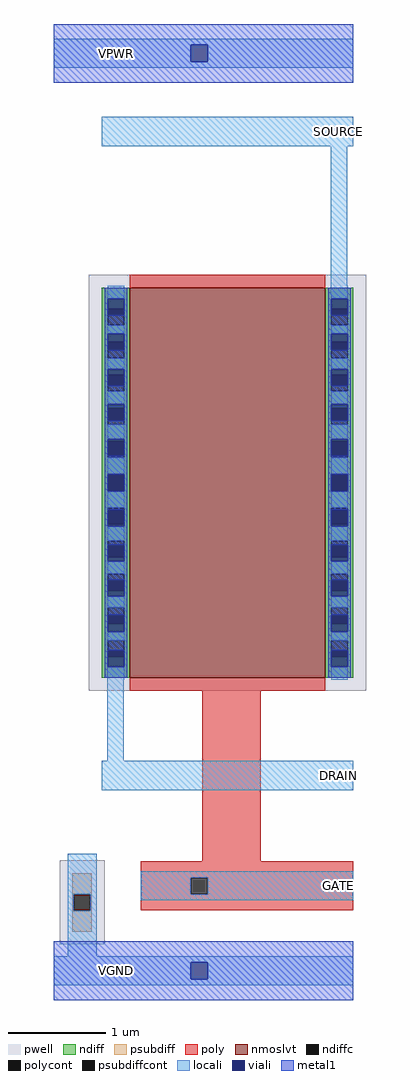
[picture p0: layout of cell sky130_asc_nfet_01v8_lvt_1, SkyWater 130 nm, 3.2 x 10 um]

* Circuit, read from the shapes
.subckt sky130_asc_nfet_01v8_lvt_1 GATE SOURCE DRAIN VPWR VGND
XM1 SOURCE GATE DRAIN VGND sky130_fd_pr__nfet_01v8_lvt w=4 l=2
.ends

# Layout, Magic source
magic
tech sky130A
magscale 1 2
<< pwell >>
rect 162 574 730 1426
rect 102 54 194 226
<< nmoslvt >>
rect 246 600 646 1400
<< ndiff >>
rect 188 1357 246 1400
rect 188 1323 200 1357
rect 234 1323 246 1357
rect 188 1289 246 1323
rect 188 1255 200 1289
rect 234 1255 246 1289
rect 188 1221 246 1255
rect 188 1187 200 1221
rect 234 1187 246 1221
rect 188 1153 246 1187
rect 188 1119 200 1153
rect 234 1119 246 1153
rect 188 1085 246 1119
rect 188 1051 200 1085
rect 234 1051 246 1085
rect 188 1017 246 1051
rect 188 983 200 1017
rect 234 983 246 1017
rect 188 949 246 983
rect 188 915 200 949
rect 234 915 246 949
rect 188 881 246 915
rect 188 847 200 881
rect 234 847 246 881
rect 188 813 246 847
rect 188 779 200 813
rect 234 779 246 813
rect 188 745 246 779
rect 188 711 200 745
rect 234 711 246 745
rect 188 677 246 711
rect 188 643 200 677
rect 234 643 246 677
rect 188 600 246 643
rect 646 1357 704 1400
rect 646 1323 658 1357
rect 692 1323 704 1357
rect 646 1289 704 1323
rect 646 1255 658 1289
rect 692 1255 704 1289
rect 646 1221 704 1255
rect 646 1187 658 1221
rect 692 1187 704 1221
rect 646 1153 704 1187
rect 646 1119 658 1153
rect 692 1119 704 1153
rect 646 1085 704 1119
rect 646 1051 658 1085
rect 692 1051 704 1085
rect 646 1017 704 1051
rect 646 983 658 1017
rect 692 983 704 1017
rect 646 949 704 983
rect 646 915 658 949
rect 692 915 704 949
rect 646 881 704 915
rect 646 847 658 881
rect 692 847 704 881
rect 646 813 704 847
rect 646 779 658 813
rect 692 779 704 813
rect 646 745 704 779
rect 646 711 658 745
rect 692 711 704 745
rect 646 677 704 711
rect 646 643 658 677
rect 692 643 704 677
rect 646 600 704 643
<< ndiffc >>
rect 200 1323 234 1357
rect 200 1255 234 1289
rect 200 1187 234 1221
rect 200 1119 234 1153
rect 200 1051 234 1085
rect 200 983 234 1017
rect 200 915 234 949
rect 200 847 234 881
rect 200 779 234 813
rect 200 711 234 745
rect 200 643 234 677
rect 658 1323 692 1357
rect 658 1255 692 1289
rect 658 1187 692 1221
rect 658 1119 692 1153
rect 658 1051 692 1085
rect 658 983 692 1017
rect 658 915 692 949
rect 658 847 692 881
rect 658 779 692 813
rect 658 711 692 745
rect 658 643 692 677
<< psubdiff >>
rect 128 157 168 200
rect 128 123 131 157
rect 165 123 168 157
rect 128 80 168 123
<< psubdiffcont >>
rect 131 123 165 157
<< poly >>
rect 246 1400 646 1426
rect 246 574 646 600
rect 394 224 514 574
rect 268 191 704 224
rect 268 157 371 191
rect 405 157 704 191
rect 268 124 704 157
<< polycont >>
rect 371 157 405 191
<< locali >>
rect 90 1897 704 1910
rect 90 1863 371 1897
rect 405 1863 704 1897
rect 90 1850 704 1863
rect 188 1690 704 1750
rect 657 1404 691 1690
rect 200 1377 234 1404
rect 657 1386 692 1404
rect 200 1305 234 1323
rect 200 1233 234 1255
rect 200 1161 234 1187
rect 200 1089 234 1119
rect 200 1017 234 1051
rect 200 949 234 983
rect 200 881 234 911
rect 200 813 234 839
rect 200 745 234 767
rect 200 677 234 695
rect 199 623 200 654
rect 199 596 234 623
rect 658 1377 692 1386
rect 658 1305 692 1323
rect 658 1233 692 1255
rect 658 1161 692 1187
rect 658 1089 692 1119
rect 658 1017 692 1051
rect 658 949 692 983
rect 658 881 692 911
rect 658 813 692 839
rect 658 745 692 767
rect 658 677 692 695
rect 658 596 692 623
rect 199 430 233 596
rect 188 370 704 430
rect 118 157 178 240
rect 118 123 131 157
rect 165 123 178 157
rect 268 191 704 204
rect 268 157 371 191
rect 405 157 704 191
rect 268 144 704 157
rect 118 30 178 123
rect 90 17 704 30
rect 90 -17 371 17
rect 405 -17 704 17
rect 90 -30 704 -17
<< viali >>
rect 371 1863 405 1897
rect 200 1357 234 1377
rect 200 1343 234 1357
rect 200 1289 234 1305
rect 200 1271 234 1289
rect 200 1221 234 1233
rect 200 1199 234 1221
rect 200 1153 234 1161
rect 200 1127 234 1153
rect 200 1085 234 1089
rect 200 1055 234 1085
rect 200 983 234 1017
rect 200 915 234 945
rect 200 911 234 915
rect 200 847 234 873
rect 200 839 234 847
rect 200 779 234 801
rect 200 767 234 779
rect 200 711 234 729
rect 200 695 234 711
rect 200 643 234 657
rect 200 623 234 643
rect 658 1357 692 1377
rect 658 1343 692 1357
rect 658 1289 692 1305
rect 658 1271 692 1289
rect 658 1221 692 1233
rect 658 1199 692 1221
rect 658 1153 692 1161
rect 658 1127 692 1153
rect 658 1085 692 1089
rect 658 1055 692 1085
rect 658 983 692 1017
rect 658 915 692 945
rect 658 911 692 915
rect 658 847 692 873
rect 658 839 692 847
rect 658 779 692 801
rect 658 767 692 779
rect 658 711 692 729
rect 658 695 692 711
rect 658 643 692 657
rect 658 623 692 643
rect 371 -17 405 17
<< metal1 >>
rect 90 1897 704 1940
rect 90 1863 371 1897
rect 405 1863 704 1897
rect 90 1820 704 1863
rect 194 1377 240 1400
rect 194 1343 200 1377
rect 234 1343 240 1377
rect 194 1305 240 1343
rect 194 1271 200 1305
rect 234 1271 240 1305
rect 194 1233 240 1271
rect 194 1199 200 1233
rect 234 1199 240 1233
rect 194 1161 240 1199
rect 194 1127 200 1161
rect 234 1127 240 1161
rect 194 1089 240 1127
rect 194 1055 200 1089
rect 234 1055 240 1089
rect 194 1017 240 1055
rect 194 983 200 1017
rect 234 983 240 1017
rect 194 945 240 983
rect 194 911 200 945
rect 234 911 240 945
rect 194 873 240 911
rect 194 839 200 873
rect 234 839 240 873
rect 194 801 240 839
rect 194 767 200 801
rect 234 767 240 801
rect 194 729 240 767
rect 194 695 200 729
rect 234 695 240 729
rect 194 657 240 695
rect 194 623 200 657
rect 234 623 240 657
rect 194 600 240 623
rect 652 1377 698 1400
rect 652 1343 658 1377
rect 692 1343 698 1377
rect 652 1305 698 1343
rect 652 1271 658 1305
rect 692 1271 698 1305
rect 652 1233 698 1271
rect 652 1199 658 1233
rect 692 1199 698 1233
rect 652 1161 698 1199
rect 652 1127 658 1161
rect 692 1127 698 1161
rect 652 1089 698 1127
rect 652 1055 658 1089
rect 692 1055 698 1089
rect 652 1017 698 1055
rect 652 983 658 1017
rect 692 983 698 1017
rect 652 945 698 983
rect 652 911 658 945
rect 692 911 698 945
rect 652 873 698 911
rect 652 839 658 873
rect 692 839 698 873
rect 652 801 698 839
rect 652 767 658 801
rect 692 767 698 801
rect 652 729 698 767
rect 652 695 658 729
rect 692 695 698 729
rect 652 657 698 695
rect 652 623 658 657
rect 692 623 698 657
rect 652 600 698 623
rect 90 17 704 60
rect 90 -17 371 17
rect 405 -17 704 17
rect 90 -60 704 -17
<< labels >>
flabel locali s 644 144 704 204 1 FreeSans 1250 0 0 0 GATE
port 1 nsew
flabel locali s 644 1690 704 1750 1 FreeSans 1250 0 0 0 SOURCE
port 2 nsew
flabel locali s 644 370 704 430 1 FreeSans 1250 0 0 0 DRAIN
port 3 nsew
flabel metal1 s 188 1850 248 1910 1 FreeSans 1250 0 0 0 VPWR
port 4 nsew
flabel metal1 s 188 -30 248 30 1 FreeSans 1250 0 0 0 VGND
port 5 nsew
<< properties >>
string FIXED_BBOX 0 0 794 1880
<< end >>
